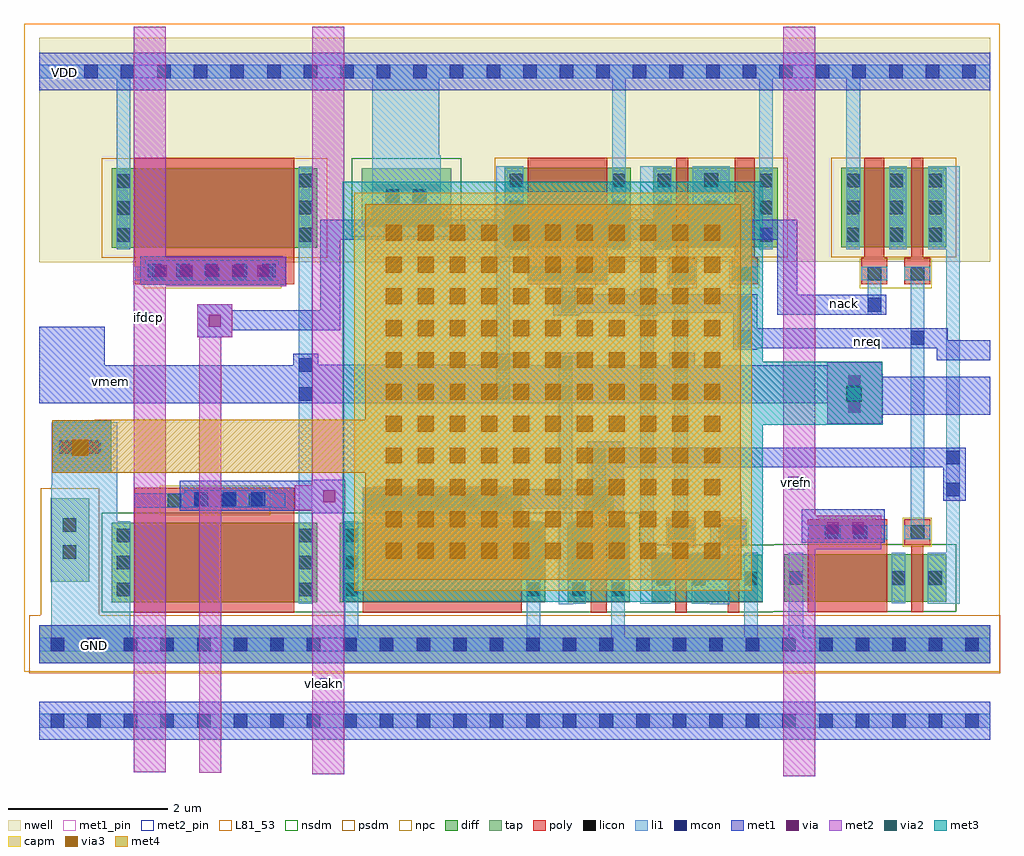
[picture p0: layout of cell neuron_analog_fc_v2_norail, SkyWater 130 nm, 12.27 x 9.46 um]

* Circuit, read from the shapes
.subckt neuron_analog_fc_v2_norail GND VDD ifdcp nack nreq vleakn vmem vrefn
XM1 vmem vleakn GND GND sky130_fd_pr__nfet_01v8 w=1 l=2
XM2 GND n1 GND GND sky130_fd_pr__nfet_01v8 w=1 l=2
XM3 GND n1 vmem GND sky130_fd_pr__nfet_01v8 w=1 l=0.2
XM4 n2 vmem nreq GND sky130_fd_pr__nfet_01v8 w=0.6 l=0.15
XM5 GND n2 n2 GND sky130_fd_pr__nfet_01v8 w=0.6 l=0.15
XM6 n3 vrefn GND GND sky130_fd_pr__nfet_01v8 w=0.6 l=1
XM7 n1 nreq n3 GND sky130_fd_pr__nfet_01v8 w=0.6 l=0.15
XM8 vmem ifdcp VDD VDD sky130_fd_pr__pfet_01v8 w=1 l=2
XM9 VDD nreq vmem VDD sky130_fd_pr__pfet_01v8 w=1 l=1
XM10 n4 vmem nreq VDD sky130_fd_pr__pfet_01v8 w=1 l=0.15
XM11 VDD nreq n4 VDD sky130_fd_pr__pfet_01v8 w=1 l=0.25
XM12 n5 nack VDD VDD sky130_fd_pr__pfet_01v8 w=1 l=0.25
XM13 n1 nreq n5 VDD sky130_fd_pr__pfet_01v8 w=1 l=0.15
XC14 GND vmem sky130_fd_pr__cap_mim_m3_1 w=5 l=5
.ends

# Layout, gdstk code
import gdstk
lib = gdstk.Library(unit=1e-6, precision=1e-09)
def R(c, l, rs):  # rectangles x0, y0, x1, y1
    for r in rs: c.add(gdstk.rectangle(r[:2], r[2:], *l))
def A(c, l, x, y, w, h, nx, ny, dx, dy):  # array of equal rectangles
    R(c, l, [(x+i*dx, y+j*dy, x+i*dx+w, y+j*dy+h) for i in range(nx) for j in range(ny)])
nwell = (64, 20)
diff = (65, 20)
tap = (65, 44)
poly = (66, 20)
licon = (66, 44)
li1 = (67, 20)
mcon = (67, 44)
met1_pin = (68, 16)
met1 = (68, 20)
via = (68, 44)
met2_pin = (69, 16)
met2 = (69, 20)
via2 = (69, 44)
met3 = (70, 20)
via3 = (70, 44)
met4 = (71, 20)
L81_53 = (81, 53)
capm = (89, 44)
nsdm = (93, 44)
psdm = (94, 20)
npc = (95, 20)

neuron_analog_fc_v2_nora = lib.new_cell('neuron_analog_fc_v2_norail')
R(neuron_analog_fc_v2_nora, nwell, [(8.37,-6.165,14.21,-6.16), (8.37,-6.16,20.325,-3.345)])
R(neuron_analog_fc_v2_nora, diff, [(9.285,-10.44,11.865,-9.44), (12.15,-10.44,14.73,-9.44), (15.015,-10.44,15.795,-9.44), (16.075,-10.44,17.465,-9.84), (17.74,-10.435,19.775,-9.835), (9.285,-5.985,11.865,-4.985), (14.225,-5.98,15.805,-4.98), (16.09,-5.98,17.655,-4.98), (18.455,-5.98,19.775,-4.98)])
R(neuron_analog_fc_v2_nora, tap, [(8.37,-11.21,20.325,-10.73), (8.515,-10.185,9,-9.135), (12.425,-5.72,13.55,-4.985)])
R(neuron_analog_fc_v2_nora, poly, [(9.575,-10.57,11.575,-9), (12.44,-10.57,14.44,-9), (15.305,-10.57,15.505,-9.33), (16.365,-10.57,16.515,-9.73), (17.025,-10.57,17.175,-9.73), (18.03,-10.565,19.03,-9.395), (19.335,-10.565,19.485,-9.725), (16.275,-9.73,16.605,-9.4), (16.935,-9.73,17.265,-9.4), (19.245,-9.725,19.575,-9.395), (15.245,-9.33,15.575,-9), (9.575,-6.445,11.575,-4.855), (14.515,-6.44,15.515,-4.85), (16.29,-6.44,16.62,-6.11), (17.075,-6.44,17.405,-6.11), (18.705,-6.44,19.035,-6.11), (19.245,-6.44,19.575,-6.11), (16.38,-6.11,16.53,-4.85), (17.115,-6.11,17.365,-4.85), (18.745,-6.11,18.995,-4.85), (19.335,-6.11,19.485,-4.85)])
A(neuron_analog_fc_v2_nora, licon, 8.515, -11.055, 0.17, 0.17, 26, 1, 0.46, 0)
A(neuron_analog_fc_v2_nora, licon, 9.345, -10.365, 0.17, 0.17, 1, 3, 0, 0.34)
A(neuron_analog_fc_v2_nora, licon, 11.635, -10.365, 0.17, 0.17, 1, 3, 0, 0.34)
A(neuron_analog_fc_v2_nora, licon, 12.21, -10.365, 0.17, 0.17, 1, 3, 0, 0.34)
A(neuron_analog_fc_v2_nora, licon, 14.5, -10.365, 0.17, 0.17, 1, 3, 0, 0.34)
A(neuron_analog_fc_v2_nora, licon, 15.075, -10.365, 0.17, 0.17, 1, 3, 0, 0.34)
A(neuron_analog_fc_v2_nora, licon, 15.565, -10.365, 0.17, 0.17, 1, 3, 0, 0.34)
A(neuron_analog_fc_v2_nora, licon, 12.675, -9.25, 0.17, 0.17, 5, 1, 0.34, 0)
A(neuron_analog_fc_v2_nora, licon, 9.985, -9.245, 0.17, 0.17, 4, 1, 0.34, 0)
A(neuron_analog_fc_v2_nora, licon, 9.785, -6.395, 0.17, 0.17, 5, 1, 0.34, 0)
A(neuron_analog_fc_v2_nora, licon, 9.345, -5.91, 0.17, 0.17, 1, 3, 0, 0.34)
A(neuron_analog_fc_v2_nora, licon, 11.635, -5.905, 0.17, 0.17, 1, 3, 0, 0.34)
A(neuron_analog_fc_v2_nora, licon, 14.285, -5.905, 0.17, 0.17, 1, 3, 0, 0.34)
A(neuron_analog_fc_v2_nora, licon, 15.575, -5.905, 0.17, 0.17, 1, 3, 0, 0.34)
A(neuron_analog_fc_v2_nora, licon, 16.15, -5.905, 0.17, 0.17, 1, 3, 0, 0.34)
A(neuron_analog_fc_v2_nora, licon, 17.425, -5.905, 0.17, 0.17, 1, 3, 0, 0.34)
A(neuron_analog_fc_v2_nora, licon, 18.515, -5.905, 0.17, 0.17, 1, 3, 0, 0.34)
A(neuron_analog_fc_v2_nora, licon, 19.055, -5.905, 0.17, 0.17, 1, 3, 0, 0.34)
A(neuron_analog_fc_v2_nora, licon, 19.545, -5.905, 0.17, 0.17, 1, 3, 0, 0.34)
A(neuron_analog_fc_v2_nora, licon, 16.735, -5.9, 0.17, 0.17, 1, 3, 0, 0.34)
R(neuron_analog_fc_v2_nora, licon, [(16.135,-10.225,16.305,-10.055), (16.575,-10.225,16.745,-10.055), (17.235,-10.225,17.405,-10.055), (17.8,-10.22,17.97,-10.05), (19.09,-10.22,19.26,-10.05), (19.545,-10.22,19.715,-10.05), (8.67,-9.895,8.84,-9.725), (16.355,-9.65,16.525,-9.48), (17.015,-9.65,17.185,-9.48), (18.275,-9.645,18.445,-9.475), (18.615,-9.645,18.785,-9.475), (19.325,-9.645,19.495,-9.475), (8.67,-9.555,8.84,-9.385), (15.325,-9.25,15.495,-9.08), (14.76,-6.39,14.93,-6.22), (15.1,-6.39,15.27,-6.22), (16.37,-6.39,16.54,-6.22), (17.155,-6.39,17.325,-6.22), (18.785,-6.39,18.955,-6.22), (19.325,-6.39,19.495,-6.22), (12.725,-5.415,12.895,-5.245), (13.065,-5.415,13.235,-5.245)])
R(neuron_analog_fc_v2_nora, li1, [(8.37,-12.015,20.325,-11.845), (8.37,-11.055,20.325,-10.885), (8.525,-10.885,9.515,-9.42), (12.21,-10.885,12.38,-9.42), (14.5,-10.885,14.67,-9.42), (15.565,-10.885,15.735,-9.42), (17.235,-10.885,17.405,-9.82), (17.795,-10.885,17.975,-9.82), (14.905,-10.465,15.08,-10.46), (16.8,-10.465,17.055,-10.46), (11.635,-10.46,11.805,-4.965), (14.905,-10.46,15.245,-9.42), (15.93,-10.46,16.305,-9.82), (16.575,-10.46,17.055,-9.82), (19.54,-10.46,19.945,-9.815), (19.09,-10.455,19.26,-9.815), (15.93,-9.82,16.1,-6), (16.805,-9.82,17.055,-9.65), (17.8,-9.82,17.97,-9.815), (19.775,-9.815,19.945,-6), (16.275,-9.65,16.605,-9.48), (16.805,-9.65,17.265,-9.48), (18.03,-9.645,19.03,-9.475), (19.245,-9.645,19.575,-9.475), (16.355,-9.48,16.525,-6.39), (16.805,-9.48,17.055,-9.475), (18.11,-9.475,18.915,-9.47), (19.325,-9.475,19.495,-6.39), (8.525,-9.42,9.355,-8.97), (14.905,-9.42,15.075,-7.35), (9.575,-9.25,10.245,-9.245), (11.295,-9.25,11.465,-9.245), (12.44,-9.25,14.44,-9.08), (15.245,-9.25,15.575,-9.08), (9.575,-9.245,11.465,-9.07), (15.32,-9.08,15.495,-8.505), (10.2,-9.07,11.33,-9.03), (8.53,-8.97,9.355,-8.18), (14.115,-7.94,14.285,-6), (17.15,-7.235,17.33,-6.565), (18.785,-6.825,18.955,-6.39), (14.94,-6.8,15.11,-6.39), (17.155,-6.565,17.325,-6.39), (9.705,-6.4,11.38,-6.395), (9.57,-6.395,11.465,-6.225), (14.515,-6.39,15.515,-6.22), (16.29,-6.39,16.62,-6.22), (17.075,-6.39,17.405,-6.22), (18.705,-6.39,19.035,-6.22), (19.245,-6.39,19.575,-6.22), (9.705,-6.225,11.38,-6.14), (9.345,-6.005,9.515,-3.855), (14.115,-6,14.455,-4.96), (15.575,-6,15.745,-3.855), (15.93,-6,16.32,-4.96), (17.425,-6,17.595,-3.855), (18.515,-6,18.685,-5.525), (19.055,-6,19.275,-4.96), (19.545,-6,19.945,-4.96), (16.59,-5.98,17.055,-4.96), (12.555,-5.655,13.42,-4.82), (18.515,-5.525,18.695,-3.855), (12.555,-4.82,13.4,-3.855), (8.37,-3.855,20.325,-3.685)])
A(neuron_analog_fc_v2_nora, mcon, 8.515, -12.015, 0.17, 0.17, 26, 2, 0.46, 0.96)
A(neuron_analog_fc_v2_nora, mcon, 10.32, -9.225, 0.17, 0.17, 3, 1, 0.36, 0)
A(neuron_analog_fc_v2_nora, mcon, 9.735, -6.355, 0.17, 0.17, 5, 1, 0.36, 0)
A(neuron_analog_fc_v2_nora, mcon, 8.935, -3.855, 0.17, 0.17, 25, 1, 0.46, 0)
R(neuron_analog_fc_v2_nora, mcon, [(18.245,-9.64,18.415,-9.47), (18.605,-9.64,18.775,-9.47), (12.545,-9.25,12.715,-9.08), (12.91,-9.25,13.08,-9.08), (13.295,-9.25,13.465,-9.08), (13.685,-9.25,13.855,-9.08), (14.08,-9.25,14.25,-9.08), (15.325,-9.25,15.495,-9.08), (19.775,-9.105,19.945,-8.935), (19.775,-8.705,19.945,-8.535), (15.32,-8.695,15.49,-8.525), (8.62,-8.575,8.79,-8.405), (8.98,-8.575,9.15,-8.405), (11.635,-7.91,11.805,-7.74), (14.905,-7.895,15.075,-7.725), (14.115,-7.89,14.285,-7.72), (16.355,-7.89,16.525,-7.72), (11.635,-7.545,11.805,-7.375), (16.355,-7.53,16.525,-7.36), (14.115,-7.525,14.285,-7.355), (14.905,-7.52,15.075,-7.35), (19.325,-7.2,19.495,-7.03), (17.155,-7.19,17.325,-7.02), (18.785,-6.785,18.955,-6.615), (17.155,-6.765,17.325,-6.595), (14.94,-6.76,15.11,-6.59), (15.93,-6.76,16.1,-6.59)])
R(neuron_analog_fc_v2_nora, met1_pin, [(9.065,-11,9.08,-10.975), (9.255,-7.68,9.27,-7.655), (18.715,-7.185,18.85,-7.145), (18.475,-6.72,18.505,-6.655), (8.63,-3.79,8.745,-3.77)])
R(neuron_analog_fc_v2_nora, met1, [(8.37,-12.17,20.325,-11.69), (8.37,-11.21,20.325,-10.73), (17.99,-9.695,18.945,-9.69), (17.955,-9.69,19,-9.27), (12.475,-9.33,14.44,-9.265), (11.8,-9.32,12.22,-9.29), (15.245,-9.32,15.715,-9.3), (15.245,-9.3,15.72,-9.265), (10.14,-9.29,12.22,-8.915), (12.475,-9.265,15.72,-9.02), (19.735,-9.165,20.02,-8.74), (12.475,-9.02,14.44,-9), (15.245,-9.02,15.72,-9), (15.26,-9,15.72,-8.74), (11.8,-8.915,12.22,-8.9), (8.535,-8.81,9.275,-8.15), (15.26,-8.74,20.02,-8.5), (15.26,-8.5,15.72,-8.425), (19.735,-8.5,20.02,-8.495), (18.28,-8.195,18.97,-8.085), (18.28,-8.085,20.325,-7.94), (16.29,-7.945,16.615,-7.94), (8.37,-7.94,20.325,-7.605), (8.37,-7.605,18.97,-7.46), (8.37,-7.46,9.195,-6.975), (11.565,-7.46,14.365,-7.455), (14.83,-7.46,15.155,-7.305), (16.29,-7.46,16.615,-7.305), (18.28,-7.46,18.97,-7.425), (11.565,-7.455,11.88,-7.315), (14.045,-7.455,14.365,-7.315), (19.655,-7.4,20.325,-7.25), (17.095,-7.265,17.4,-7.245), (17.615,-7.25,20.325,-7.245), (17.095,-7.245,20.325,-7.145), (17.095,-7.145,19.795,-6.995), (10.36,-7.11,10.795,-7.02), (10.36,-7.02,12.155,-6.77), (17.095,-6.995,17.4,-6.8), (15.86,-6.84,16.14,-6.8), (14.835,-6.83,15.175,-6.8), (17.65,-6.825,19.02,-6.575), (14.835,-6.8,17.4,-6.565), (10.36,-6.77,10.795,-6.695), (11.905,-6.77,12.155,-5.88), (17.65,-6.575,17.9,-5.88), (14.835,-6.565,15.175,-6.53), (15.86,-6.565,16.14,-6.505), (9.64,-6.45,11.47,-6.095), (9.64,-6.095,11.43,-6.09), (11.905,-5.88,17.9,-5.63), (8.37,-4.005,20.325,-3.535)])
A(neuron_analog_fc_v2_nora, via, 9.83, -6.345, 0.15, 0.15, 5, 1, 0.32, 0)
R(neuron_analog_fc_v2_nora, via, [(18.27,-9.58,18.42,-9.43), (18.59,-9.58,18.74,-9.43), (11.94,-9.18,12.09,-9.03), (8.65,-8.57,8.8,-8.42), (8.97,-8.57,9.12,-8.42), (18.54,-8.055,18.69,-7.905), (18.54,-7.735,18.69,-7.585), (10.505,-6.975,10.655,-6.825)])
R(neuron_analog_fc_v2_nora, met2_pin, [(11.9,-11.525,12.005,-11.395), (17.785,-9.02,18,-8.86), (9.695,-6.92,9.8,-6.8)])
R(neuron_analog_fc_v2_nora, met2, [(17.725,-12.625,18.125,-9.775), (11.805,-12.605,12.205,-9.32), (10.385,-12.585,10.66,-7.11), (9.56,-12.58,9.96,-6.47), (17.725,-9.775,18.955,-9.35), (17.725,-9.35,18.125,-3.205), (11.8,-9.32,12.22,-9.285), (11.585,-9.285,12.22,-8.97), (11.8,-8.97,12.22,-8.9), (11.805,-8.9,12.205,-3.205), (8.535,-8.81,9.275,-8.15), (18.28,-8.195,18.97,-7.425), (10.36,-7.11,10.795,-6.695), (9.56,-6.47,11.475,-6.45), (9.555,-6.45,11.475,-6.15), (9.56,-6.15,11.475,-6.095), (9.56,-6.095,9.96,-3.205)])
R(neuron_analog_fc_v2_nora, via2, [(8.785,-8.6,8.985,-8.4), (18.515,-7.92,18.715,-7.72)])
R(neuron_analog_fc_v2_nora, met3, [(12.19,-10.435,17.47,-8.21), (8.535,-8.81,9.275,-8.15), (12.19,-8.21,18.975,-7.56), (12.19,-7.56,18.97,-7.415), (12.19,-7.415,17.47,-5.155)])
A(neuron_analog_fc_v2_nora, via3, 12.73, -9.895, 0.2, 0.2, 11, 11, 0.4, 0.4)
R(neuron_analog_fc_v2_nora, via3, [(8.785,-8.6,8.985,-8.4)])
R(neuron_analog_fc_v2_nora, met4, [(12.47,-10.155,17.195,-9.05), (12.47,-9.05,17.19,-8.81), (8.535,-8.81,17.19,-8.15), (9.07,-8.15,17.19,-8.145), (12.47,-8.145,17.19,-5.435)])
R(neuron_analog_fc_v2_nora, L81_53, [(8.18,-11.315,20.445,-3.17)])
R(neuron_analog_fc_v2_nora, capm, [(12.33,-10.295,17.33,-5.295)])
R(neuron_analog_fc_v2_nora, nsdm, [(9.16,-10.565,17.59,-10.56), (9.16,-10.56,19.9,-9.715), (9.16,-9.715,15.92,-9.315), (17.615,-9.715,19.9,-9.71), (12.3,-5.845,13.675,-4.86)])
R(neuron_analog_fc_v2_nora, psdm, [(8.245,-11.335,20.45,-10.605), (8.39,-10.605,9.125,-9.01), (9.16,-6.11,11.99,-4.86), (14.1,-6.105,17.78,-4.855), (18.33,-6.105,19.9,-4.855)])
R(neuron_analog_fc_v2_nora, npc, [(16.255,-9.75,16.625,-9.38), (16.915,-9.75,17.285,-9.38), (18.175,-9.745,18.885,-9.375), (19.225,-9.745,19.595,-9.375), (12.575,-9.35,14.305,-8.98), (15.225,-9.35,15.595,-8.98), (9.885,-9.345,11.275,-8.975), (9.685,-6.495,11.415,-6.125), (14.66,-6.49,15.37,-6.12), (16.27,-6.49,16.64,-6.12), (17.055,-6.49,17.425,-6.12), (18.685,-6.49,19.595,-6.12)])
neuron_analog_fc_v2_nora.add(gdstk.Label('vmem', (9.262,-7.667), layer=68, texttype=5))
neuron_analog_fc_v2_nora.add(gdstk.Label('GND', (9.072,-10.987), layer=68, texttype=5))
neuron_analog_fc_v2_nora.add(gdstk.Label('VDD', (8.687,-3.78), layer=68, texttype=5))
neuron_analog_fc_v2_nora.add(gdstk.Label('nreq', (18.782,-7.165), layer=68, texttype=5))
neuron_analog_fc_v2_nora.add(gdstk.Label('nack', (18.49,-6.687), layer=68, texttype=5))
neuron_analog_fc_v2_nora.add(gdstk.Label('vrefn', (17.892,-8.94), layer=69, texttype=5))
neuron_analog_fc_v2_nora.add(gdstk.Label('ifdcp', (9.747,-6.86), layer=69, texttype=5))
neuron_analog_fc_v2_nora.add(gdstk.Label('vleakn', (11.952,-11.46), layer=69, texttype=5))

lib.write_gds('neuron_analog_fc_v2_norail.gds')
